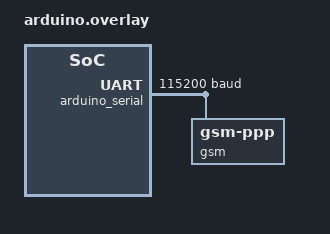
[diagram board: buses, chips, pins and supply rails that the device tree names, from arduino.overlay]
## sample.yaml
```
common:
  tags:
    - net
    - cloud
    - dns
    - http
    - ppp
    - modem
    - gsm
    - wifi
  min_ram: 64
  harness: net
sample:
  description: TagoIO HTTP(S) client sample
  name: tagoio_http_post
tests:
  sample.net.cloud.tagoio_http_post:
    platform_allow:
      - frdm_k64f
      - nucleo_f767zi
    integration_platforms:
      - frdm_k64f
  sample.net.cloud.tagoio_http_post.wifi:
    extra_args: OVERLAY_CONFIG="overlay-wifi.conf"
    platform_allow: disco_l475_iot1
  sample.net.cloud.tagoio_http_post.wifi.esp:
    extra_args:
      - SHIELD=esp_8266_arduino
      - OVERLAY_CONFIG="overlay-wifi.conf"
    platform_allow:
      - frdm_k64f
      - nucleo_f767zi
    integration_platforms:
      - frdm_k64f
  sample.net.cloud.tagoio_http_post.modem:
    extra_args: OVERLAY_CONFIG="overlay-modem.conf"
    platform_allow: sam4e_xpro
  sample.net.cloud.tagoio_http_post.modem.arduino:
    extra_args:
      - OVERLAY_CONFIG="overlay-modem.conf"
      - DTC_OVERLAY_FILE="arduino.overlay"
    platform_allow: frdm_k64f
```

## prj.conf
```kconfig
# App stack
CONFIG_MAIN_STACK_SIZE=4096

# C Library
# Default use minimal libc and with COMMON_LIBC_MALLOC_ARENA_SIZE defining
# HEAP size (512 bytes) are enough to run DNS.
CONFIG_COMMON_LIBC_MALLOC_ARENA_SIZE=4096

# Networking config
CONFIG_NETWORKING=y
CONFIG_NET_IPV4=y
CONFIG_NET_IPV6=n
CONFIG_NET_TCP=y
CONFIG_NET_SHELL=y

# Sockets
CONFIG_NET_SOCKETS=y
CONFIG_NET_SOCKETS_POSIX_NAMES=y
CONFIG_NET_SOCKETS_POLL_MAX=4

# Network driver config
CONFIG_TEST_RANDOM_GENERATOR=y

# Network address config
CONFIG_NET_CONFIG_SETTINGS=y
CONFIG_NET_CONFIG_NEED_IPV4=y
CONFIG_NET_DHCPV4=y

# Resolver
CONFIG_DNS_RESOLVER=y

# HTTP
CONFIG_HTTP_CLIENT=y

# Network debug config
CONFIG_LOG=y
CONFIG_NET_LOG=y
CONFIG_NET_SOCKETS_LOG_LEVEL_DBG=n
CONFIG_NET_HTTP_LOG_LEVEL_DBG=n

# TagoIO API
CONFIG_TAGOIO_DEVICE_TOKEN="<your device token API>"
CONFIG_CBPRINTF_FP_SUPPORT=y
```

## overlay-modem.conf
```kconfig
# UART support
CONFIG_SERIAL=y

# GSM modem support
CONFIG_MODEM=y
CONFIG_MODEM_SHELL=y
CONFIG_MODEM_CMD_HANDLER_MAX_PARAM_COUNT=20
CONFIG_MODEM_GSM_PPP=y
CONFIG_MODEM_GSM_RX_STACK_SIZE=1024
CONFIG_MODEM_GSM_APN="<your Access Point Name (APN)>"

# Network management events
CONFIG_NET_CONNECTION_MANAGER=y

# PPP networking support
CONFIG_NET_NATIVE=y
CONFIG_NET_DRIVERS=y
CONFIG_NET_PPP=y
CONFIG_NET_L2_PPP=y
CONFIG_NET_L2_PPP_TIMEOUT=10000

CONFIG_DNS_RESOLVER_MAX_SERVERS=1
CONFIG_DNS_SERVER_IP_ADDRESSES=y
CONFIG_DNS_SERVER1="8.8.8.8"
```

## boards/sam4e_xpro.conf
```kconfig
CONFIG_USART_SAM=y
```

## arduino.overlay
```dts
/*
 * Copyright (c) 2021 G-Technologies Sdn. Bhd.
 *
 * SPDX-License-Identifier: Apache-2.0
 */

 &arduino_serial {
	status = "okay";
	current-speed = <115200>;

	gsm: gsm-modem {
		compatible = "zephyr,gsm-ppp";
	};
};
```

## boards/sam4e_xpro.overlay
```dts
/*
 * Copyright (c) 2021 G-Technologies Sdn. Bhd.
 *
 * SPDX-License-Identifier: Apache-2.0
 */

&usart1 {
	status = "okay";
	current-speed = <115200>;

	gsm: gsm-modem {
		compatible = "zephyr,gsm-ppp";
	};
};
```

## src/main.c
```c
/*
 * Copyright (c) 2020 Gerson Fernando Budke <nandojve@gmail.com>
 *
 * SPDX-License-Identifier: Apache-2.0
 */

#include <zephyr/logging/log.h>
LOG_MODULE_REGISTER(tagoio_http_post, CONFIG_TAGOIO_HTTP_POST_LOG_LEVEL);

#include <zephyr/kernel.h>
#include <zephyr/net/socket.h>
#include <zephyr/net/http/client.h>
#include <zephyr/random/rand32.h>
#include <stdio.h>

#include "wifi.h"
#include "sockets.h"

static struct tagoio_context ctx;

static void response_cb(struct http_response *rsp,
			enum http_final_call final_data,
			void *user_data)
{
	if (final_data == HTTP_DATA_MORE) {
		LOG_DBG("Partial data received (%zd bytes)", rsp->data_len);
	} else if (final_data == HTTP_DATA_FINAL) {
		LOG_DBG("All the data received (%zd bytes)", rsp->data_len);
	}

	LOG_DBG("Response status %s", rsp->http_status);
}

static int collect_data(void)
{
	#define lower 20000
	#define upper 100000
	#define base  1000.00f

	float temp;

	/* Generate a temperature between 20 and 100 celsius degree */
	temp = ((sys_rand32_get() % (upper - lower + 1)) + lower);
	temp /= base;

	(void)snprintf(ctx.payload, sizeof(ctx.payload),
		       "{\"variable\": \"temperature\","
		       "\"unit\": \"c\",\"value\": %f}",
		       (double)temp);

	/* LOG doesn't print float #18351 */
	LOG_INF("Temp: %d", (int) temp);

	return 0;
}

static void next_turn(void)
{
	if (collect_data() < 0) {
		LOG_INF("Error collecting data.");
		return;
	}

	if (tagoio_connect(&ctx) < 0) {
		LOG_INF("No connection available.");
		return;
	}

	if (tagoio_http_push(&ctx, response_cb) < 0) {
		LOG_INF("Error pushing data.");
		return;
	}
}

int main(void)
{
	LOG_INF("TagoIO IoT - HTTP Client - Temperature demo");

	wifi_connect();

	while (true) {
		next_turn();

		k_sleep(K_SECONDS(CONFIG_TAGOIO_HTTP_PUSH_INTERVAL));
	}
	return 0;
}
```
